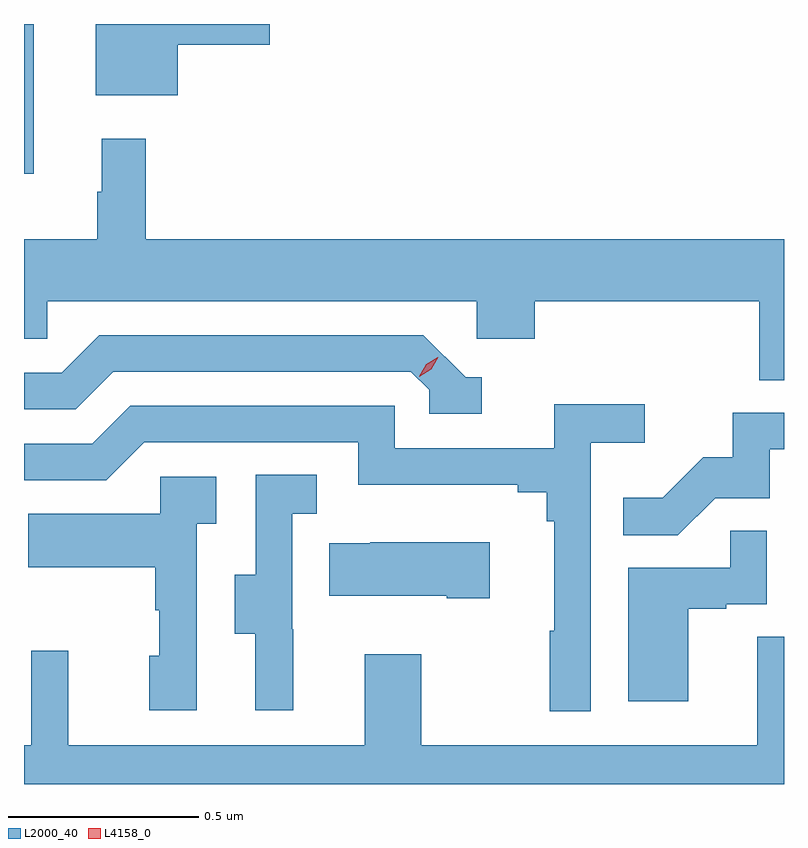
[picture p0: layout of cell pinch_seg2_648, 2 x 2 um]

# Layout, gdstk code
import gdstk
lib = gdstk.Library(unit=1e-6, precision=1e-09)
def R(c, l, rs):  # rectangles x0, y0, x1, y1
    for r in rs: c.add(gdstk.rectangle(r[:2], r[2:], *l))
def P(c, l, *ps):  # polygons
    for p in ps: c.add(gdstk.Polygon(p, *l))
L2000_40 = (2000, 40)
L4158_0 = (4158, 0)

pinch_seg2_648 = lib.new_cell('pinch_seg2_648')
R(pinch_seg2_648, L2000_40, [(1057.082,600.02,1057.108,600.414)])
P(pinch_seg2_648, L2000_40, [(1057.486,600.359),(1057.729,600.359),(1057.729,600.414),(1057.271,600.414),(1057.271,600.227),(1057.486,600.227)],
  [(1059.082,599.848),(1057.403,599.848),(1057.403,600.112),(1057.286,600.112),(1057.286,599.972),(1057.275,599.972),(1057.275,599.848),(1057.082,599.848),(1057.082,599.586),(1057.143,599.586),(1057.143,599.684),(1058.274,599.684),(1058.274,599.586),(1058.426,599.586),(1058.426,599.684),(1059.017,599.684),(1059.017,599.476),(1059.082,599.476)],
  [(1058.287,599.484),(1058.244,599.484),(1058.133,599.595),(1057.28,599.595),(1057.181,599.496),(1057.082,599.496),(1057.082,599.4),(1057.218,599.4),(1057.317,599.499),(1058.1,599.499),(1058.148,599.451),(1058.148,599.388),(1058.287,599.388)],
  [(1058.574,599.312),(1058.716,599.312),(1058.716,599.414),(1058.477,599.414),(1058.477,599.298),(1058.058,599.298),(1058.058,599.409),(1057.361,599.409),(1057.262,599.31),(1057.082,599.31),(1057.082,599.214),(1057.299,599.214),(1057.398,599.313),(1057.962,599.313),(1057.962,599.201),(1058.381,599.201),(1058.381,599.182),(1058.458,599.182),(1058.458,599.105),(1058.477,599.105),(1058.477,598.817),(1058.466,598.817),(1058.466,598.605),(1058.574,598.605)],
  [(1058.901,599.166),(1059.045,599.166),(1059.045,599.295),(1059.082,599.295),(1059.082,599.391),(1058.947,599.391),(1058.947,599.274),(1058.87,599.274),(1058.763,599.167),(1058.659,599.167),(1058.659,599.068),(1058.803,599.068)],
  [(1057.79,598.821),(1057.788,598.821),(1057.788,599.125),(1057.852,599.125),(1057.852,599.228),(1057.692,599.228),(1057.692,598.965),(1057.637,598.965),(1057.637,598.81),(1057.691,598.81),(1057.691,598.608),(1057.79,598.608)],
  [(1057.536,599.099),(1057.588,599.099),(1057.588,599.223),(1057.44,599.223),(1057.44,599.125),(1057.093,599.125),(1057.093,598.985),(1057.428,598.985),(1057.428,598.871),(1057.438,598.871),(1057.438,598.752),(1057.412,598.752),(1057.412,598.608),(1057.536,598.608)],
  [(1058.83,598.875),(1058.93,598.875),(1058.93,598.887),(1059.036,598.887),(1059.036,599.081),(1058.941,599.081),(1058.941,598.983),(1058.672,598.983),(1058.672,598.632),(1058.83,598.632)],
  [(1058.308,599.05),(1057.993,599.05),(1057.993,599.047),(1057.885,599.047),(1057.885,598.91),(1058.195,598.91),(1058.195,598.903),(1058.308,598.903)],
  [(1059.082,598.802),(1059.011,598.802),(1059.011,598.516),(1058.127,598.516),(1058.127,598.756),(1057.979,598.756),(1057.979,598.516),(1057.199,598.516),(1057.199,598.765),(1057.101,598.765),(1057.101,598.516),(1057.082,598.516),(1057.082,598.414),(1059.082,598.414)])
P(pinch_seg2_648, L4158_0, [(1058.122,599.486),(1058.122,599.487),(1058.14,599.519),(1058.171,599.537),(1058.172,599.537),(1058.172,599.537),(1058.154,599.505),(1058.122,599.486)])

lib.write_gds('pinch_seg2_648.gds')
